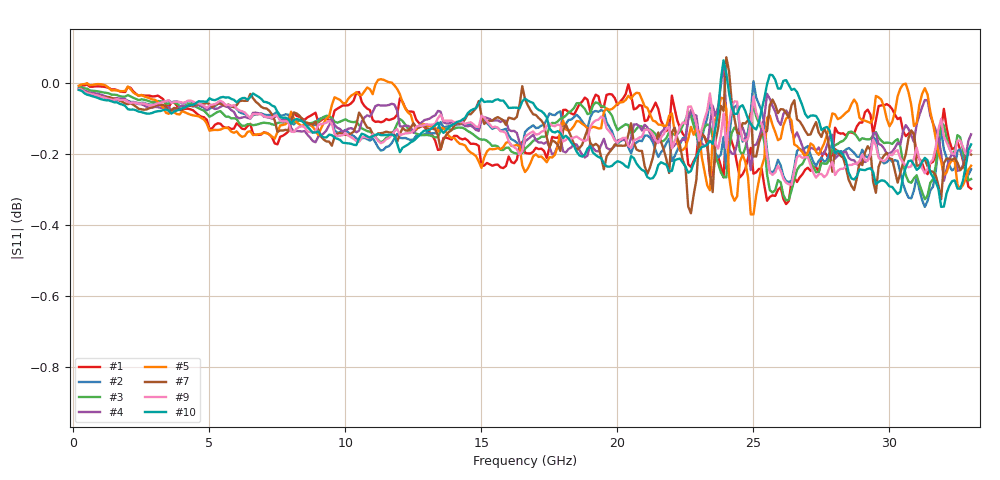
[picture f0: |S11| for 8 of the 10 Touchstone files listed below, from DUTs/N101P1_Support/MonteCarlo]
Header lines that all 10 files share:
# GHZ S RI R 50
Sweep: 200 MHz to 33 GHz
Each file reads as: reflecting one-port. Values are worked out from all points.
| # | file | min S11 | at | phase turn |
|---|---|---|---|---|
| 1 | N101P1_81.s2p | -0.3 dB | 26.2 GHz | -2369 deg |
| 2 | N101P1_84.s2p | -0.3 dB | 31.3 GHz | -2368 deg |
| 3 | N101P1_87.s2p | -0.3 dB | 26.2 GHz | -2368 deg |
| 4 | N101P1_90.s2p | -0.3 dB | 32 GHz | -2367 deg |
| 5 | N101P1_91.s2p | -0.4 dB | 25 GHz | -2368 deg |
| 6 | N101P1_93.s2p | -0.3 dB | 32 GHz | -2367 deg |
| 7 | N101P1_94.s2p | -0.4 dB | 22.7 GHz | -2367 deg |
| 8 | N101P1_96.s2p | -0.3 dB | 26.2 GHz | -2369 deg |
| 9 | N101P1_97.s2p | -0.3 dB | 26.4 GHz | -2368 deg |
| 10 | N101P1_100.s2p | -0.3 dB | 31.9 GHz | -2366 deg |
